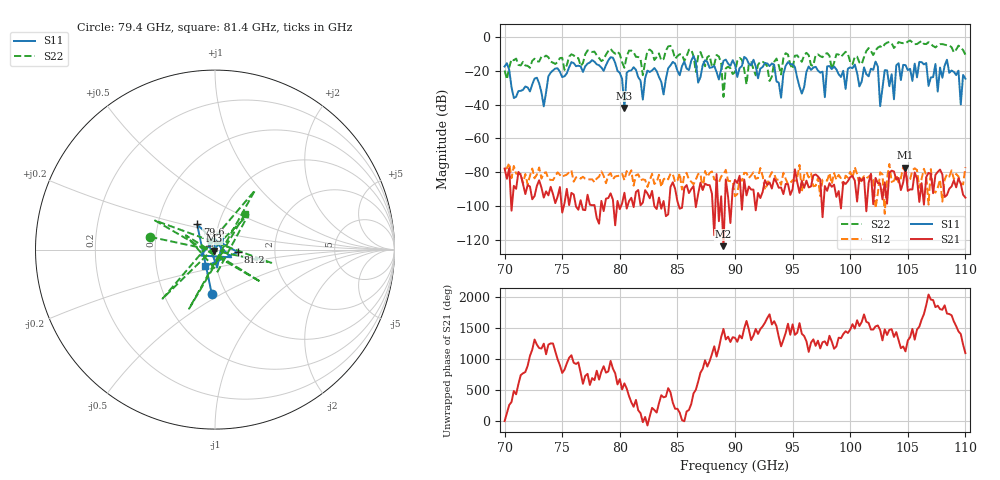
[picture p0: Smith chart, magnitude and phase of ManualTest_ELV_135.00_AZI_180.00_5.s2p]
! 11/25/2026 1:00:01 PM
! C:\ANRITSUVNA\TEMP\TEMP.S2P
! CHANNEL.1
! TR.MEASUREMENT
! RAW.DATA
# HZ S RI R 50.0
! FREQ.HZ  S11RE  S11IM  S21RE  S21IM  S12RE  S12IM  S22RE  S22IM
!; PortSelection: Port_12
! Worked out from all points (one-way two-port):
!   201 points, 70 GHz to 110 GHz, reference 50 ohm
!   highest |S21| = -77.42 dB at 104.8 GHz (marker M1); lowest = -123.9 dB at 89 GHz (marker M2)
!   lowest |S11| = -41.9 dB at 80.4 GHz (marker M3), VSWR 1.02, Z = 49.5 - j0.587 ohm
!   |S11| at or under -10 dB: start of sweep to end of sweep
!   |S22| runs from -35.4 to -2.0 dB; largest |S21 - S12| = 0.0003
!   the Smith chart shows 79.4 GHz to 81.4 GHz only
!   S11 on the Smith chart (normalised r, x): 79.4 GHz: 0.86, -0.45; 79.6 GHz: 0.79, +0.23; 81.2 GHz: 1.29, -0.04; 81.4 GHz: 0.88, -0.17
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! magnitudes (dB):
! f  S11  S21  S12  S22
! 70 GHz  -17.4  -77.9  -78.1  -19.8
! 73.4 GHz  -41.0  -95.1  -80.5  -11.9
! 74.2 GHz  -19.7  -93.0  -84.7  -15.2
! 76.8 GHz  -20.6  -102.3  -82.7  -15.4
! 79.4 GHz  -12.2  -96.3  -84.2  -8.7
! 79.6 GHz  -15.3  -111.5  -82.6  -9.8
! 80.4 GHz  -41.9  -92.2  -84.8  -18.1
! 81.2 GHz  -17.9  -100.7  -88.0  -8.9
! 81.4 GHz  -19.3  -91.8  -81.8  -11.6
! 82 GHz  -37.0  -98.0  -84.3  -22.6
! 83.4 GHz  -23.7  -95.1  -81.5  -9.7
! 88.6 GHz  -25.1  -109.1  -86.2  -11.5
! 89 GHz  -14.1  -123.9  -81.2  -35.4
! 90 GHz  -16.4  -84.6  -94.3  -20.8
! 93.4 GHz  -16.3  -83.8  -81.2  -14.7
! 94 GHz  -35.9  -89.1  -87.5  -22.1
! 94.6 GHz  -14.8  -87.1  -87.1  -10.3
! 95.8 GHz  -33.4  -85.2  -92.0  -14.6
! 96.8 GHz  -18.0  -81.9  -88.4  -16.9
! 103.4 GHz  -29.1  -80.3  -75.2  -2.9
! 104.8 GHz  -16.6  -77.4  -80.0  -3.7
! 110 GHz  -24.6  -95.1  -77.2  -10.4
